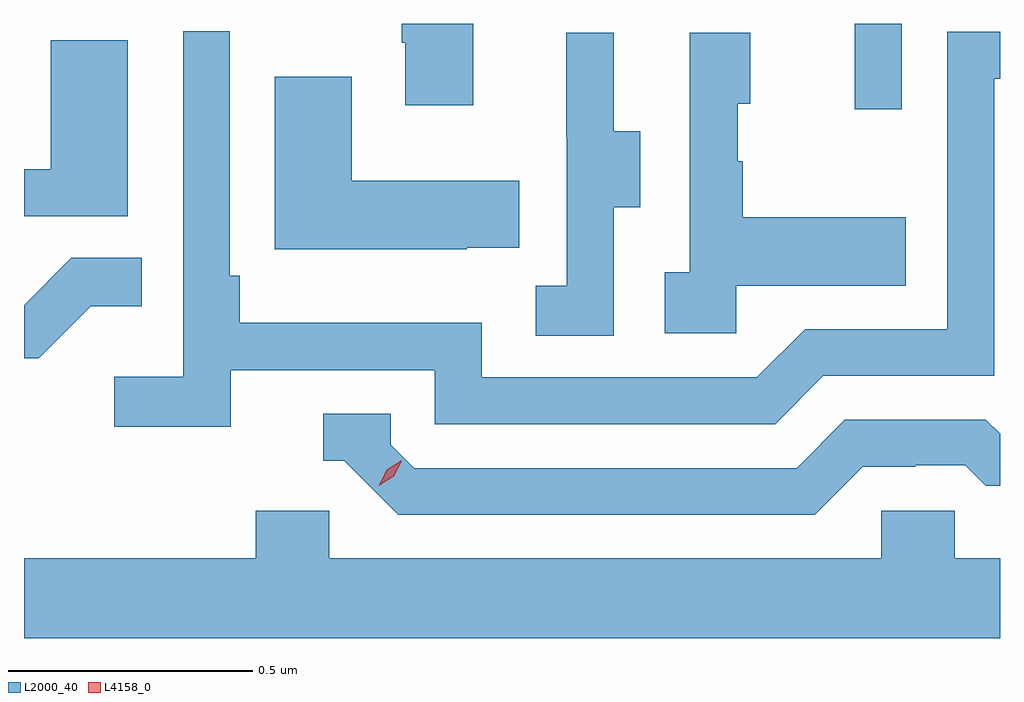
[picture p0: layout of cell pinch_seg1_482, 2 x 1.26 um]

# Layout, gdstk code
import gdstk
lib = gdstk.Library(unit=1e-6, precision=1e-09)
def R(c, l, rs):  # rectangles x0, y0, x1, y1
    for r in rs: c.add(gdstk.rectangle(r[:2], r[2:], *l))
def P(c, l, *ps):  # polygons
    for p in ps: c.add(gdstk.Polygon(p, *l))
L2000_40 = (2000, 40)
L4158_0 = (4158, 0)

pinch_seg1_482 = lib.new_cell('pinch_seg1_482')
R(pinch_seg1_482, L2000_40, [(1109.588,534.168,1109.685,534.344)])
P(pinch_seg1_482, L2000_40, [(1108.807,534.344),(1108.66,534.344),(1108.66,534.305),(1108.667,534.305),(1108.667,534.177),(1108.807,534.177)],
  [(1108.31,533.634),(1108.728,533.634),(1108.728,533.523),(1109.425,533.523),(1109.524,533.622),(1109.874,533.622),(1109.874,534.231),(1109.886,534.231),(1109.886,534.327),(1109.778,534.327),(1109.778,533.718),(1109.487,533.718),(1109.388,533.619),(1108.824,533.619),(1108.824,533.731),(1108.328,533.731),(1108.328,533.827),(1108.308,533.827),(1108.308,534.328),(1108.212,534.328),(1108.212,533.62),(1108.071,533.62),(1108.071,533.518),(1108.31,533.518)],
  [(1109.094,533.968),(1109.149,533.968),(1109.149,534.123),(1109.095,534.123),(1109.095,534.325),(1108.997,534.325),(1108.997,534.111),(1108.998,534.111),(1108.998,533.807),(1108.935,533.807),(1108.935,533.704),(1109.094,533.704)],
  [(1109.346,533.807),(1109.693,533.807),(1109.693,533.947),(1109.359,533.947),(1109.359,534.062),(1109.349,534.062),(1109.349,534.18),(1109.374,534.18),(1109.374,534.325),(1109.25,534.325),(1109.25,533.834),(1109.199,533.834),(1109.199,533.709),(1109.346,533.709)],
  [(1108.099,534.31),(1107.941,534.31),(1107.941,534.045),(1107.886,534.045),(1107.886,533.949),(1108.099,533.949)],
  [(1108.793,533.885),(1108.901,533.885),(1108.901,534.022),(1108.558,534.022),(1108.558,534.235),(1108.4,534.235),(1108.4,533.882),(1108.793,533.882)],
  [(1108.023,533.765),(1108.127,533.765),(1108.127,533.864),(1107.983,533.864),(1107.886,533.767),(1107.886,533.658),(1107.916,533.658)],
  [(1109.605,533.436),(1109.712,533.436),(1109.712,533.439),(1109.815,533.439),(1109.857,533.397),(1109.886,533.397),(1109.886,533.503),(1109.857,533.532),(1109.568,533.532),(1109.469,533.433),(1108.686,533.433),(1108.638,533.481),(1108.638,533.544),(1108.499,533.544),(1108.499,533.448),(1108.542,533.448),(1108.653,533.337),(1109.506,533.337)],
  [(1109.886,533.248),(1109.793,533.248),(1109.793,533.346),(1109.643,533.346),(1109.643,533.248),(1108.512,533.248),(1108.512,533.346),(1108.361,533.346),(1108.361,533.248),(1107.886,533.248),(1107.886,533.084),(1109.886,533.084)])
P(pinch_seg1_482, L4158_0, [(1108.613,533.397),(1108.613,533.397),(1108.629,533.43),(1108.66,533.449),(1108.66,533.449),(1108.66,533.448),(1108.644,533.416),(1108.613,533.397)])

lib.write_gds('pinch_seg1_482.gds')
